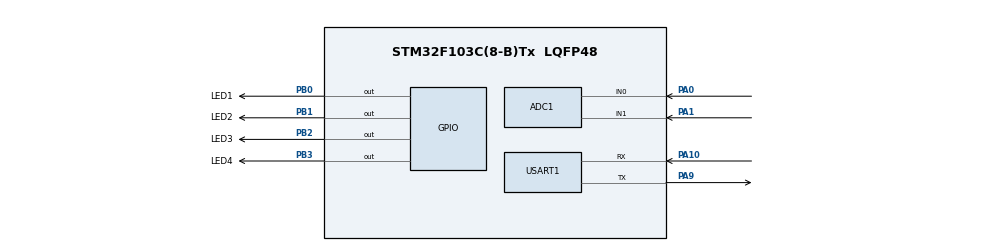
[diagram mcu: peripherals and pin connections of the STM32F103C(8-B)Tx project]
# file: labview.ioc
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ADC1.Channel-0\#ChannelRegularConversion=ADC_CHANNEL_0
ADC1.Channel-1\#ChannelRegularConversion=ADC_CHANNEL_1
ADC1.ContinuousConvMode=ENABLE
ADC1.NbrOfConversion=2
ADC1.NbrOfConversionFlag=1
ADC1.Rank-0\#ChannelRegularConversion=1
ADC1.Rank-1\#ChannelRegularConversion=2
ADC1.SamplingTime-0\#ChannelRegularConversion=ADC_SAMPLETIME_1CYCLE_5
ADC1.SamplingTime-1\#ChannelRegularConversion=ADC_SAMPLETIME_1CYCLE_5
ADC1.master=1
Mcu.Family=STM32F1
Mcu.Name=STM32F103C(8-B)Tx
Mcu.Package=LQFP48
NVIC.PriorityGroup=NVIC_PRIORITYGROUP_4
NVIC.USART1_IRQn=true\:0\:0\:false\:false\:true\:true\:true\:true
PA0-WKUP.Signal=ADCx_IN0
PA1.Signal=ADCx_IN1
PA10.Mode=Asynchronous
PA10.Signal=USART1_RX
PA13.Mode=Serial_Wire
PA13.Signal=SYS_JTMS-SWDIO
PA14.Mode=Serial_Wire
PA14.Signal=SYS_JTCK-SWCLK
PA9.Mode=Asynchronous
PA9.Signal=USART1_TX
PB0.GPIO_Label=LED1
PB0.Signal=GPIO_Output
PB1.GPIO_Label=LED2
PB1.Signal=GPIO_Output
PB2.GPIO_Label=LED3
PB2.Signal=GPIO_Output
PB3.GPIO_Label=LED4
PB3.Signal=GPIO_Output
ProjectManager.HeapSize=0x200
ProjectManager.StackSize=0x400
ProjectManager.TargetToolchain=STM32CubeIDE
RCC.APB1Freq_Value=8000000
RCC.APB2Freq_Value=8000000
SH.ADCx_IN0.0=ADC1_IN0,IN0
SH.ADCx_IN1.0=ADC1_IN1,IN1
USART1.VirtualMode=VM_ASYNC
board=custom

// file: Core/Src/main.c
/* USER CODE BEGIN Header */
/**
  ******************************************************************************
  * @file           : main.c
  * @brief          : Main program body
  ******************************************************************************
  * @attention
  *
  * Copyright (c) 2022 STMicroelectronics.
  * All rights reserved.
  *
  * This software is licensed under terms that can be found in the LICENSE file
  * in the root directory of this software component.
  * If no LICENSE file comes with this software, it is provided AS-IS.
  *
  ******************************************************************************
  */
/* USER CODE END Header */
#include "main.h"

/* USER CODE BEGIN Includes */
#include <string.h>
/* USER CODE END Includes */

 ADC_HandleTypeDef hadc1;

UART_HandleTypeDef huart1;

void SystemClock_Config(void);
static void MX_GPIO_Init(void);
static void MX_ADC1_Init(void);
static void MX_USART1_UART_Init(void);

/* USER CODE BEGIN 0 */
uint8_t dato_Tx[20] = "hola Mundo\n\r";
uint8_t read_Adc[30];
uint8_t dato_Rx =0;
void adc_Read_channel_0(void);
void adc_Read_channel_1(void);
uint16_t pot1,pot2;
/* USER CODE END 0 */

int main(void)
{

  /* MCU Configuration--------------------------------------------------------*/

  /* Reset of all peripherals, Initializes the Flash interface and the Systick. */
  HAL_Init();

  /* Configure the system clock */
  SystemClock_Config();

  /* Initialize all configured peripherals */
  MX_GPIO_Init();
  MX_ADC1_Init();
  MX_USART1_UART_Init();
  /* USER CODE BEGIN 2 */

HAL_UART_Receive_IT(&huart1, &dato_Rx, 1);
  /* USER CODE END 2 */

  /* Infinite loop */
  /* USER CODE BEGIN WHILE */
  while (1)
  {

	 // HAL_GPIO_TogglePin(GPIOB, LED1_Pin|LED2_Pin|LED3_Pin|LED4_Pin);
	  //HAL_UART_Transmit(&huart1, dato_Tx, strlen(dato_Tx), HAL_MAX_DELAY);
	  //HAL_Delay(300);

		  adc_Read_channel_0();
		  HAL_ADC_Start(&hadc1);
		 HAL_ADC_PollForConversion(&hadc1, 1000);
		 pot1 = HAL_ADC_GetValue(&hadc1);
		  HAL_ADC_Stop(&hadc1);

		  adc_Read_channel_1();
		  HAL_ADC_Start(&hadc1);
		 HAL_ADC_PollForConversion(&hadc1, 1000);
		 pot2 = HAL_ADC_GetValue(&hadc1);
		  HAL_ADC_Stop(&hadc1);

		  sprintf(read_Adc,"%u ;%u\n\r",pot1,pot2);
		  HAL_UART_Transmit(&huart1, read_Adc, strlen(read_Adc), HAL_MAX_DELAY);
		   HAL_Delay(300);

    /* USER CODE END WHILE */

  }
}

void SystemClock_Config(void)
{
  RCC_OscInitTypeDef RCC_OscInitStruct = {0};
  RCC_ClkInitTypeDef RCC_ClkInitStruct = {0};
  RCC_PeriphCLKInitTypeDef PeriphClkInit = {0};

  /** Initializes the RCC Oscillators according to the specified parameters
  * in the RCC_OscInitTypeDef structure.
  */
  RCC_OscInitStruct.OscillatorType = RCC_OSCILLATORTYPE_HSI;
  RCC_OscInitStruct.HSIState = RCC_HSI_ON;
  RCC_OscInitStruct.HSICalibrationValue = RCC_HSICALIBRATION_DEFAULT;
  RCC_OscInitStruct.PLL.PLLState = RCC_PLL_NONE;
  if (HAL_RCC_OscConfig(&RCC_OscInitStruct) != HAL_OK)
  {
    Error_Handler();
  }

  /** Initializes the CPU, AHB and APB buses clocks
  */
  RCC_ClkInitStruct.ClockType = RCC_CLOCKTYPE_HCLK|RCC_CLOCKTYPE_SYSCLK
                              |RCC_CLOCKTYPE_PCLK1|RCC_CLOCKTYPE_PCLK2;
  RCC_ClkInitStruct.SYSCLKSource = RCC_SYSCLKSOURCE_HSI;
  RCC_ClkInitStruct.AHBCLKDivider = RCC_SYSCLK_DIV1;
  RCC_ClkInitStruct.APB1CLKDivider = RCC_HCLK_DIV1;
  RCC_ClkInitStruct.APB2CLKDivider = RCC_HCLK_DIV1;

  if (HAL_RCC_ClockConfig(&RCC_ClkInitStruct, FLASH_LATENCY_0) != HAL_OK)
  {
    Error_Handler();
  }
  PeriphClkInit.PeriphClockSelection = RCC_PERIPHCLK_ADC;
  PeriphClkInit.AdcClockSelection = RCC_ADCPCLK2_DIV2;
  if (HAL_RCCEx_PeriphCLKConfig(&PeriphClkInit) != HAL_OK)
  {
    Error_Handler();
  }
}

static void MX_ADC1_Init(void)
{

  ADC_ChannelConfTypeDef sConfig = {0};

  /** Common config
  */
  hadc1.Instance = ADC1;
  hadc1.Init.ScanConvMode = ADC_SCAN_ENABLE;
  hadc1.Init.ContinuousConvMode = ENABLE;
  hadc1.Init.DiscontinuousConvMode = DISABLE;
  hadc1.Init.ExternalTrigConv = ADC_SOFTWARE_START;
  hadc1.Init.DataAlign = ADC_DATAALIGN_RIGHT;
  hadc1.Init.NbrOfConversion = 1;
  if (HAL_ADC_Init(&hadc1) != HAL_OK)
  {
    Error_Handler();
  }

  /** Configure Regular Channel
  */
 /* sConfig.Channel = ADC_CHANNEL_0;
  sConfig.Rank = ADC_REGULAR_RANK_1;
  sConfig.SamplingTime = ADC_SAMPLETIME_1CYCLE_5;
  if (HAL_ADC_ConfigChannel(&hadc1, &sConfig) != HAL_OK)
  {
    Error_Handler();
  }*/

  /** Configure Regular Channel
  */
  /*sConfig.Channel = ADC_CHANNEL_1;
  sConfig.Rank = ADC_REGULAR_RANK_2;
  if (HAL_ADC_ConfigChannel(&hadc1, &sConfig) != HAL_OK)
  {
    Error_Handler();
  }*/

}

static void MX_USART1_UART_Init(void)
{

  huart1.Instance = USART1;
  huart1.Init.BaudRate = 115200;
  huart1.Init.WordLength = UART_WORDLENGTH_8B;
  huart1.Init.StopBits = UART_STOPBITS_1;
  huart1.Init.Parity = UART_PARITY_NONE;
  huart1.Init.Mode = UART_MODE_TX_RX;
  huart1.Init.HwFlowCtl = UART_HWCONTROL_NONE;
  huart1.Init.OverSampling = UART_OVERSAMPLING_16;
  if (HAL_UART_Init(&huart1) != HAL_OK)
  {
    Error_Handler();
  }

}

static void MX_GPIO_Init(void)
{
  GPIO_InitTypeDef GPIO_InitStruct = {0};

  /* GPIO Ports Clock Enable */
  __HAL_RCC_GPIOA_CLK_ENABLE();
  __HAL_RCC_GPIOB_CLK_ENABLE();

  /*Configure GPIO pin Output Level */
  HAL_GPIO_WritePin(GPIOB, LED1_Pin|LED2_Pin|LED3_Pin|LED4_Pin, GPIO_PIN_RESET);

  /*Configure GPIO pins : LED1_Pin LED2_Pin LED3_Pin LED4_Pin */
  GPIO_InitStruct.Pin = LED1_Pin|LED2_Pin|LED3_Pin|LED4_Pin;
  GPIO_InitStruct.Mode = GPIO_MODE_OUTPUT_PP;
  GPIO_InitStruct.Pull = GPIO_NOPULL;
  GPIO_InitStruct.Speed = GPIO_SPEED_FREQ_LOW;
  HAL_GPIO_Init(GPIOB, &GPIO_InitStruct);

}

/* USER CODE BEGIN 4 */
void HAL_UART_RxCpltCallback(UART_HandleTypeDef *huart){

	if (dato_Rx == 'a'){
		  HAL_GPIO_WritePin(GPIOB, LED1_Pin, GPIO_PIN_SET);
	}
	else if (dato_Rx == 'b'){
		  HAL_GPIO_WritePin(GPIOB, LED1_Pin, GPIO_PIN_RESET);
	}

	else if (dato_Rx == 'c'){
		  HAL_GPIO_WritePin(GPIOB, LED2_Pin, GPIO_PIN_SET);
	}
	else if (dato_Rx == 'd'){
		  HAL_GPIO_WritePin(GPIOB, LED2_Pin, GPIO_PIN_RESET);
	}
	else if (dato_Rx == 'e'){
		  HAL_GPIO_WritePin(GPIOB, LED3_Pin, GPIO_PIN_SET);
	}
	else if (dato_Rx == 'f'){
		  HAL_GPIO_WritePin(GPIOB, LED3_Pin, GPIO_PIN_RESET);
	}
	else if (dato_Rx == 'g'){
		  HAL_GPIO_WritePin(GPIOB, LED4_Pin, GPIO_PIN_SET);
	}
	else if (dato_Rx == 'h'){
		  HAL_GPIO_WritePin(GPIOB, LED4_Pin, GPIO_PIN_RESET);
	}
	HAL_UART_Receive_IT(&huart1, &dato_Rx, 1);

}

void adc_Read_channel_0(void){
	  ADC_ChannelConfTypeDef sConfig = {0};
	 sConfig.Channel = ADC_CHANNEL_0;
	  sConfig.Rank = ADC_REGULAR_RANK_1;
	  sConfig.SamplingTime = ADC_SAMPLETIME_1CYCLE_5;
	  if (HAL_ADC_ConfigChannel(&hadc1, &sConfig) != HAL_OK)
	  {
	    Error_Handler();
	  }
}
void adc_Read_channel_1(void){
	  ADC_ChannelConfTypeDef sConfig = {0};
	  sConfig.Channel = ADC_CHANNEL_1;
	  sConfig.Rank = ADC_REGULAR_RANK_2;
	  if (HAL_ADC_ConfigChannel(&hadc1, &sConfig) != HAL_OK)
	  {
	    Error_Handler();
	  }

}
/* USER CODE END 4 */

void Error_Handler(void)
{
  __disable_irq();
  while (1)
  {
  }
}
